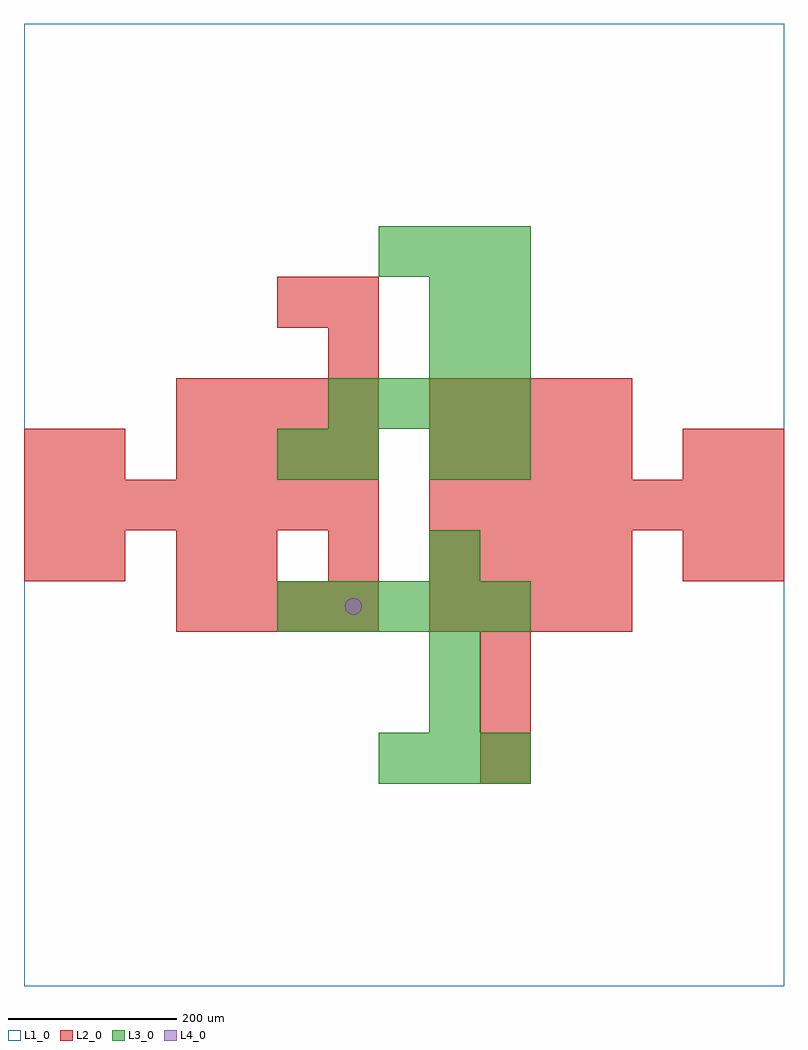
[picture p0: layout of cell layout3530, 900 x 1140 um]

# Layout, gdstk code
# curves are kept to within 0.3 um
import gdstk
lib = gdstk.Library(unit=1e-6, precision=1e-09)
def R(c, l, rs):  # rectangles x0, y0, x1, y1
    for r in rs: c.add(gdstk.rectangle(r[:2], r[2:], *l))
def A(c, l, x, y, w, h, nx, ny, dx, dy):  # array of equal rectangles
    R(c, l, [(x+i*dx, y+j*dy, x+i*dx+w, y+j*dy+h) for i in range(nx) for j in range(ny)])
def P(c, l, *ps):  # polygons
    for p in ps: c.add(gdstk.Polygon(p, *l))
L1_0 = (1, 0)
L2_0 = (2, 0)
L3_0 = (3, 0)
L4_0 = (4, 0)

layout3530 = lib.new_cell('layout3530')
R(layout3530, L1_0, [(0,0,900,1140)])
A(layout3530, L2_0, 540, 240, 60, 60, 1, 3, 0, 60)
A(layout3530, L2_0, 180, 420, 60, 60, 4, 2, 60, 180)
A(layout3530, L2_0, 480, 420, 60, 60, 4, 2, 60, 180)
A(layout3530, L2_0, 240, 480, 60, 60, 3, 1, 120, 0)
A(layout3530, L2_0, 540, 480, 60, 60, 3, 1, 60, 0)
A(layout3530, L2_0, 0, 540, 60, 60, 7, 1, 60, 0)
A(layout3530, L2_0, 480, 540, 60, 60, 7, 1, 60, 0)
A(layout3530, L2_0, 180, 660, 60, 60, 4, 1, 60, 0)
A(layout3530, L2_0, 480, 660, 60, 60, 4, 1, 60, 0)
R(layout3530, L2_0, [(0,480,60,540), (60,480,120,540), (180,480,240,540), (780,480,840,540), (840,480,900,540), (0,600,60,660), (60,600,120,660), (780,600,840,660), (840,600,900,660), (360,720,420,780), (300,780,360,840), (360,780,420,840)])
A(layout3530, L3_0, 420, 240, 60, 60, 3, 2, 60, 600)
A(layout3530, L3_0, 480, 360, 60, 60, 1, 4, 0, 120)
A(layout3530, L3_0, 300, 420, 60, 60, 5, 1, 60, 0)
A(layout3530, L3_0, 360, 660, 60, 60, 4, 1, 60, 0)
R(layout3530, L3_0, [(480,300,540,360), (300,600,360,660), (360,600,420,660), (540,600,600,660), (540,720,600,780), (480,780,540,840), (540,780,600,840)])
P(layout3530, L4_0, [(400,450),(399.239,453.827),(397.071,457.071),(393.827,459.239),(390,460),(386.173,459.239),(382.929,457.071),(380.761,453.827),(380,450),(380.761,446.173),(382.929,442.929),(386.173,440.761),(390,440),(393.827,440.761),(397.071,442.929),(399.239,446.173)])

lib.write_gds('layout3530.gds')
